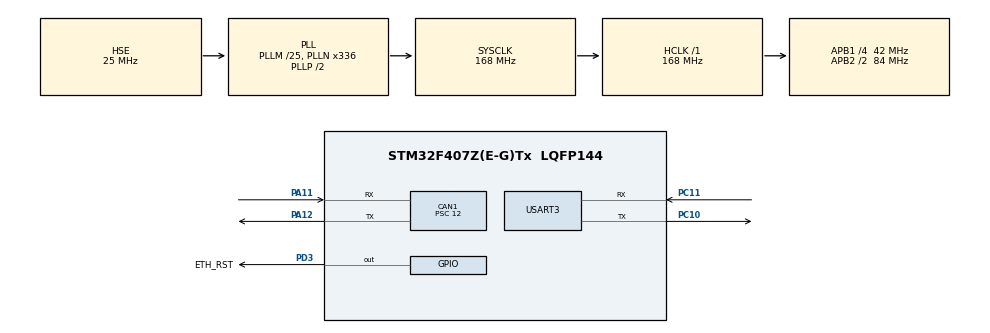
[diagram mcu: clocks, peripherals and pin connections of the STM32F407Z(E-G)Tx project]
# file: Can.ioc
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CAN1.ABOM=DISABLE
CAN1.AWUM=DISABLE
CAN1.BS1=CAN_BS1_4TQ
CAN1.BS2=CAN_BS2_2TQ
CAN1.CalculateBaudRate=500000
CAN1.CalculateTimeBit=2000
CAN1.CalculateTimeQuantum=285.7142857142857
CAN1.Mode=CAN_MODE_NORMAL
CAN1.Prescaler=12
CAN1.SJW=CAN_SJW_1TQ
CAN1.TXFP=DISABLE
Mcu.Family=STM32F4
Mcu.Name=STM32F407Z(E-G)Tx
Mcu.Package=LQFP144
NVIC.CAN1_RX0_IRQn=true\:0\:0\:false\:false\:true\:true\:true\:true
NVIC.CAN1_RX1_IRQn=true\:0\:0\:false\:false\:true\:true\:true\:true
NVIC.PriorityGroup=NVIC_PRIORITYGROUP_4
PA11.Mode=CAN_Activate
PA11.Signal=CAN1_RX
PA12.Mode=CAN_Activate
PA12.Signal=CAN1_TX
PA13.Mode=Serial_Wire
PA13.Signal=SYS_JTMS-SWDIO
PA14.Mode=Serial_Wire
PA14.Signal=SYS_JTCK-SWCLK
PC10.Mode=Asynchronous
PC10.Signal=USART3_TX
PC11.Mode=Asynchronous
PC11.Signal=USART3_RX
PC14-OSC32_IN.Mode=LSE-External-Oscillator
PC14-OSC32_IN.Signal=RCC_OSC32_IN
PC15-OSC32_OUT.Mode=LSE-External-Oscillator
PC15-OSC32_OUT.Signal=RCC_OSC32_OUT
PD3.GPIO_Label=ETH_RST
PD3.PinState=GPIO_PIN_SET
PD3.Signal=GPIO_Output
PH0-OSC_IN.Mode=HSE-External-Oscillator
PH0-OSC_IN.Signal=RCC_OSC_IN
PH1-OSC_OUT.Mode=HSE-External-Oscillator
PH1-OSC_OUT.Signal=RCC_OSC_OUT
ProjectManager.HeapSize=0x200
ProjectManager.StackSize=0x400
ProjectManager.TargetToolchain=MDK-ARM V5.32
RCC.48MHZClocksFreq_Value=84000000
RCC.AHBFreq_Value=168000000
RCC.APB1CLKDivider=RCC_HCLK_DIV4
RCC.APB1Freq_Value=42000000
RCC.APB1TimFreq_Value=84000000
RCC.APB2CLKDivider=RCC_HCLK_DIV2
RCC.APB2Freq_Value=84000000
RCC.APB2TimFreq_Value=168000000
RCC.CortexFreq_Value=168000000
RCC.HCLKFreq_Value=168000000
RCC.HSE_VALUE=25000000
RCC.HSI_VALUE=16000000
RCC.PLLM=25
RCC.PLLN=336
RCC.PLLSourceVirtual=RCC_PLLSOURCE_HSE
RCC.SYSCLKFreq_VALUE=168000000
RCC.SYSCLKSource=RCC_SYSCLKSOURCE_PLLCLK
RCC.VCOOutputFreq_Value=336000000
USART3.VirtualMode=VM_ASYNC
board=custom

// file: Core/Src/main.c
/* USER CODE BEGIN Header */
/**
  ******************************************************************************
  * @file           : main.c
  * @brief          : Main program body
  ******************************************************************************
  * @attention
  *
  * Copyright (c) 2025 STMicroelectronics.
  * All rights reserved.
  *
  * This software is licensed under terms that can be found in the LICENSE file
  * in the root directory of this software component.
  * If no LICENSE file comes with this software, it is provided AS-IS.
  *
  ******************************************************************************
  */
/* USER CODE END Header */
#include "main.h"
#include "can.h"
#include "usart.h"
#include "gpio.h"

/* USER CODE BEGIN Includes */
#include "stdio.h"
#include "stdio.h"

uint8_t CAN1_Rx_data[8] = {0};
uint8_t CAN2_Rx_data[8] = {0};

int fputc(int ch, FILE *f)
{

  HAL_UART_Transmit(&huart3, (uint8_t *)&ch, 1, 0xFFFF);
  return ch;

}

uint8_t Txbuff[8]={1,2,3,4,5,6,7,8};
uint32_t TxMailbox;
uint32_t std_id = 0x601;

CAN_RxHeaderTypeDef RxHeader;
uint8_t RxData[8];

void CAN_ReceiveMessage(void)
{
    if (HAL_CAN_GetRxMessage(&hcan1, CAN_RX_FIFO0, &RxHeader, RxData) == HAL_OK)
    {
        for (int i = 0; i < RxHeader.DLC; i++)
        {
            printf("Received data: %x\n", RxData[i]);
        }
    }
}

/* USER CODE END Includes */

/* USER CODE BEGIN PTD */

//Can???????
void CAN1_Transmit(uint32_t ID, uint8_t* Data)
{
	static uint32_t TxMailbox;
	static CAN_TxHeaderTypeDef TxMessage;
	TxMessage.StdId = ID;
	TxMessage.ExtId = 0;
	TxMessage.IDE = CAN_ID_STD;    // ??ID
	TxMessage.RTR = CAN_RTR_DATA;
	TxMessage.DLC = 8;
	// Send message and self-check
	while(HAL_CAN_AddTxMessage(&hcan1, &TxMessage, Data, &TxMailbox) !=HAL_OK);
}

/* USER CODE END PTD */

void SystemClock_Config(void);

int main(void)
{

  /* MCU Configuration--------------------------------------------------------*/

  /* Reset of all peripherals, Initializes the Flash interface and the Systick. */
  HAL_Init();

  /* Configure the system clock */
  SystemClock_Config();

  /* Initialize all configured peripherals */
  MX_GPIO_Init();
  MX_USART3_UART_Init();
  MX_CAN1_Init();
  /* USER CODE BEGIN 2 */
//  HAL_TIM_PWM_Start(&htim2,TIM_CHANNEL_1);
  HAL_CAN_Start(&hcan1);
  HAL_CAN_ActivateNotification(&hcan1, CAN_IT_RX_FIFO0_MSG_PENDING);
  /* USER CODE END 2 */

  /* Infinite loop */
  /* USER CODE BEGIN WHILE */
  while (1)
  {
    HAL_Delay(1000);
		CAN1_Transmit(0xffffffff,"helloccc" );  //��������
    /* USER CODE END WHILE */

  }
}

void SystemClock_Config(void)
{
  RCC_OscInitTypeDef RCC_OscInitStruct = {0};
  RCC_ClkInitTypeDef RCC_ClkInitStruct = {0};

  /** Configure the main internal regulator output voltage
  */
  __HAL_RCC_PWR_CLK_ENABLE();
  __HAL_PWR_VOLTAGESCALING_CONFIG(PWR_REGULATOR_VOLTAGE_SCALE1);

  /** Initializes the RCC Oscillators according to the specified parameters
  * in the RCC_OscInitTypeDef structure.
  */
  RCC_OscInitStruct.OscillatorType = RCC_OSCILLATORTYPE_HSE;
  RCC_OscInitStruct.HSEState = RCC_HSE_ON;
  RCC_OscInitStruct.PLL.PLLState = RCC_PLL_ON;
  RCC_OscInitStruct.PLL.PLLSource = RCC_PLLSOURCE_HSE;
  RCC_OscInitStruct.PLL.PLLM = 25;
  RCC_OscInitStruct.PLL.PLLN = 336;
  RCC_OscInitStruct.PLL.PLLP = RCC_PLLP_DIV2;
  RCC_OscInitStruct.PLL.PLLQ = 4;
  if (HAL_RCC_OscConfig(&RCC_OscInitStruct) != HAL_OK)
  {
    Error_Handler();
  }

  /** Initializes the CPU, AHB and APB buses clocks
  */
  RCC_ClkInitStruct.ClockType = RCC_CLOCKTYPE_HCLK|RCC_CLOCKTYPE_SYSCLK
                              |RCC_CLOCKTYPE_PCLK1|RCC_CLOCKTYPE_PCLK2;
  RCC_ClkInitStruct.SYSCLKSource = RCC_SYSCLKSOURCE_PLLCLK;
  RCC_ClkInitStruct.AHBCLKDivider = RCC_SYSCLK_DIV1;
  RCC_ClkInitStruct.APB1CLKDivider = RCC_HCLK_DIV4;
  RCC_ClkInitStruct.APB2CLKDivider = RCC_HCLK_DIV2;

  if (HAL_RCC_ClockConfig(&RCC_ClkInitStruct, FLASH_LATENCY_5) != HAL_OK)
  {
    Error_Handler();
  }
}

/* USER CODE BEGIN 4 */

void HAL_CAN_RxFifo0MsgPendingCallback(CAN_HandleTypeDef *hcan)
{// ??CAN?????????,???????
  uint32_t i;
  uint8_t RxData[8];
  CAN_RxHeaderTypeDef CAN_RxHeader;

  if(HAL_CAN_GetRxMessage(hcan, CAN_RX_FIFO0, &CAN_RxHeader, RxData) == HAL_OK)
  {

    // ???????CAN????
		HAL_UART_Transmit(&huart3, "data:", 5, 1000);  // �����ݻش�
		HAL_UART_Transmit(&huart3, RxData, 8, 1000);
		HAL_UART_Transmit(&huart3, "\r\n", 2, 1000);  //
//    MyCAN_Transmit(0x345,8,RxData);
  }
}

/* USER CODE END 4 */

void Error_Handler(void)
{
  __disable_irq();
  while (1)
  {
  }
}
